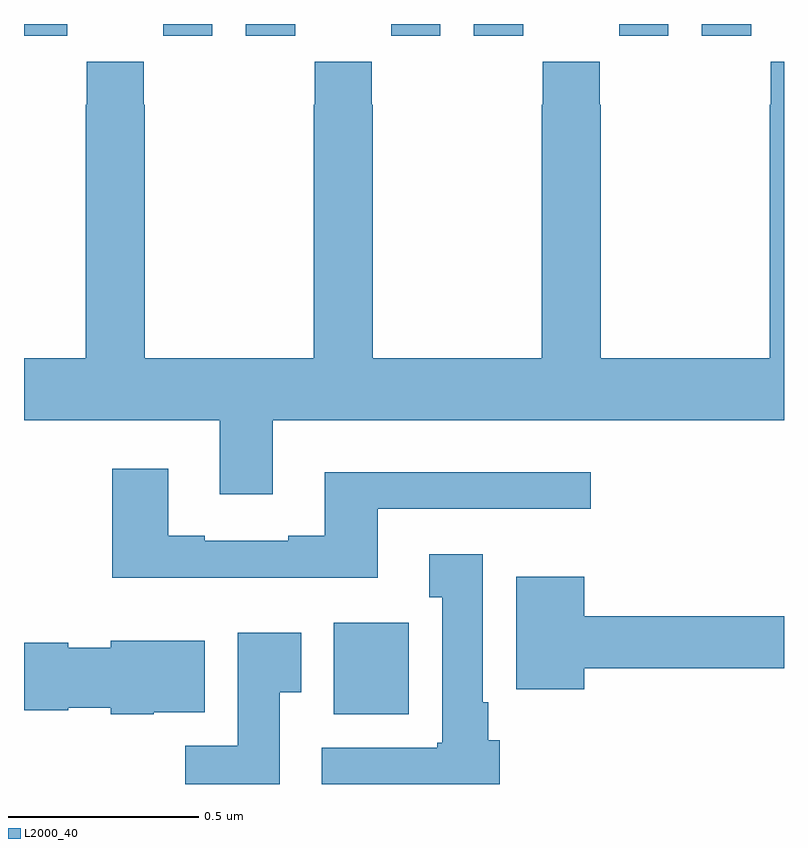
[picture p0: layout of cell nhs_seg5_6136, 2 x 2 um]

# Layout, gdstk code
import gdstk
lib = gdstk.Library(unit=1e-6, precision=1e-09)
def R(c, l, rs):  # rectangles x0, y0, x1, y1
    for r in rs: c.add(gdstk.rectangle(r[:2], r[2:], *l))
def P(c, l, *ps):  # polygons
    for p in ps: c.add(gdstk.Polygon(p, *l))
L2000_40 = (2000, 40)

nhs_seg5_6136 = lib.new_cell('nhs_seg5_6136')
R(nhs_seg5_6136, L2000_40, [(192.815,859.982,193.012,860.224), (192,861.768,192.114,861.799), (192.366,861.768,192.496,861.799), (192.584,861.768,192.714,861.799), (192.966,861.768,193.096,861.799), (193.184,861.768,193.314,861.799), (193.566,861.768,193.696,861.799), (193.784,861.768,193.914,861.799)])
P(nhs_seg5_6136, L2000_40, [(192.655,860.756),(194,860.756),(194,861.7),(193.965,861.7),(193.965,861.587),(193.963,861.587),(193.963,860.92),(193.518,860.92),(193.518,861.587),(193.515,861.587),(193.515,861.7),(193.365,861.7),(193.365,861.587),(193.363,861.587),(193.363,860.92),(192.918,860.92),(192.918,861.587),(192.915,861.587),(192.915,861.7),(192.765,861.7),(192.765,861.587),(192.763,861.587),(192.763,860.92),(192.318,860.92),(192.318,861.587),(192.315,861.587),(192.315,861.7),(192.165,861.7),(192.165,861.587),(192.163,861.587),(192.163,860.92),(192,860.92),(192,860.756),(192.515,860.756),(192.515,860.562),(192.655,860.562)],
  [(192.931,860.523),(193.492,860.523),(193.492,860.62),(192.791,860.62),(192.791,860.452),(192.695,860.452),(192.695,860.439),(192.475,860.439),(192.475,860.452),(192.379,860.452),(192.379,860.629),(192.232,860.629),(192.232,860.342),(192.931,860.342)],
  [(193.252,859.914),(193.222,859.914),(193.222,860.014),(193.207,860.014),(193.207,860.404),(193.067,860.404),(193.067,860.291),(193.1,860.291),(193.1,859.908),(193.087,859.908),(193.087,859.894),(192.783,859.894),(192.783,859.799),(193.252,859.799)],
  [(193.474,860.104),(194,860.104),(194,860.24),(193.474,860.24),(193.474,860.344),(193.295,860.344),(193.295,860.048),(193.474,860.048)],
  [(192.673,860.041),(192.73,860.041),(192.73,860.197),(192.563,860.197),(192.563,859.9),(192.424,859.9),(192.424,859.799),(192.673,859.799)],
  [(192.342,859.988),(192.475,859.988),(192.475,860.176),(192.228,860.176),(192.228,860.158),(192.117,860.158),(192.117,860.171),(192,860.171),(192,859.993),(192.117,859.993),(192.117,860),(192.228,860),(192.228,859.982),(192.342,859.982)])

lib.write_gds('nhs_seg5_6136.gds')
